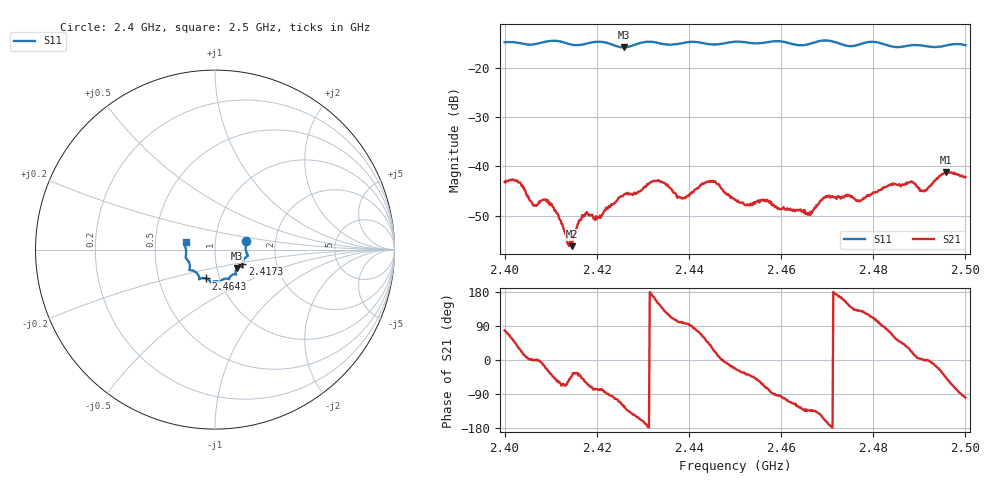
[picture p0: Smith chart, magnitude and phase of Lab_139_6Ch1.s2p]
# Hz S RI R 50
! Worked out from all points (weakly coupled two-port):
!   601 points, 2.4 GHz to 2.5 GHz, reference 50 ohm
!   highest |S21| = -41.15 dB at 2.4958 GHz (marker M1); lowest = -56.2 dB at 2.4147 GHz (marker M2)
!   lowest |S11| = -15.9 dB at 2.4258 GHz (marker M3), VSWR 1.38, Z = 62.3 - j13.3 ohm
!   |S11| at or under -10 dB: start of sweep to end of sweep
!   S12 and S22 are empty: the file has one direction only
!   S11 on the Smith chart (normalised r, x): 2.4 GHz: 1.41, +0.14; 2.4173 GHz: 1.34, -0.23; 2.4643 GHz: 0.86, -0.28; 2.5 GHz: 0.72, +0.06
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2.4e9  0.1736 0.0486  0.00146 0.00682  0 0  0 0
2.403e9  0.1747 0.0341  0.00575 0.00373  0 0  0 0
2.4065e9  0.1719 -0.00477  0.00405 5.94e-05  0 0  0 0
2.409333e9  0.1821 -0.031  0.00404 -0.00215  0 0  0 0
2.414e9  0.1663 -0.0472  0.000982 -0.00121  0 0  0 0
2.414667e9  0.1617 -0.0528  0.00118 -0.00102  0 0  0 0
2.416667e9  0.1529 -0.0747  0.00198 -0.00215  0 0  0 0
2.417333e9  0.1519 -0.0822  0.00176 -0.00259  0 0  0 0
2.4205e9  0.1541 -0.0977  0.000557 -0.00298  0 0  0 0
2.425833e9  0.1217 -0.1038  -0.00278 -0.00432  0 0  0 0
2.433333e9  0.1124 -0.1373  -0.00628 0.00365  0 0  0 0
2.438833e9  0.0803 -0.1584  -0.000676 0.0047  0 0  0 0
2.445167e9  0.0539 -0.1626  0.00619 0.0035  0 0  0 0
2.45e9  0.0284 -0.1807  0.00423 -0.00176  0 0  0 0
2.464333e9  -0.0498 -0.1606  -0.00209 -0.00288  0 0  0 0
2.466667e9  -0.076 -0.1592  -0.00225 -0.00251  0 0  0 0
2.469833e9  -0.0885 -0.166  -0.00468 -0.00139  0 0  0 0
2.477e9  -0.1262 -0.1157  -0.00286 0.00336  0 0  0 0
2.483333e9  -0.1403 -0.0899  0.00155 0.0062  0 0  0 0
2.491167e9  -0.1619 -0.0331  0.00562 -8.59e-05  0 0  0 0
2.495833e9  -0.1662 0.0181  0.00603 -0.00636  0 0  0 0
2.5e9  -0.1634 0.0425  -0.0013 -0.00771  0 0  0 0
